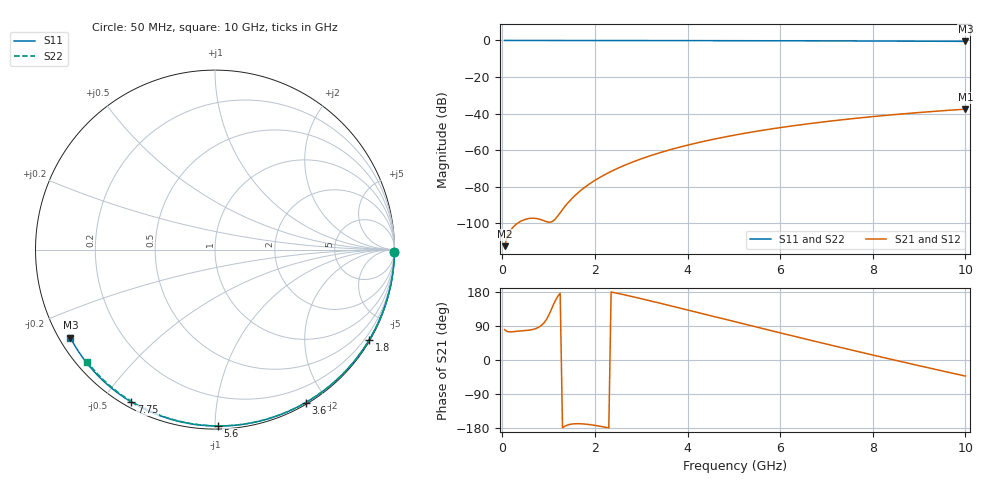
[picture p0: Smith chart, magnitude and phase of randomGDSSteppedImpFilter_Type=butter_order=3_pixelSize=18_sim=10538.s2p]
! freq	dB(S11)	phase(S11)	dB(S12)	phase(S12)
!  dB(S21)	phase(S21)	dB(S22)	phase(S22)
!S-par simulation data
#  GHz  S  DB  R 50
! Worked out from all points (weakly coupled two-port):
!   200 points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, 50 MHz to 10 GHz, reference 50 ohm
!   highest |S21| = -37.59 dB at 10 GHz (marker M1); lowest = -112.6 dB at 50 MHz (marker M2)
!   lowest |S11| = -0.5 dB at 10 GHz (marker M3), VSWR 34.43, Z = 1.57 - j14 ohm
!   |S11| at or under -10 dB: nowhere
!   |S22| runs from -0.5 to 0.0 dB; largest |S21 - S12| = 0
!   S11 on the Smith chart (normalised r, x): 50 MHz: open; 1.8 GHz: 0.03, -3.67; 3.6 GHz: 0.02, -1.75; 5.6 GHz: 0.02, -1.01; 7.75 GHz: 0.02, -0.59; 10 GHz: 0.03, -0.28
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0.05  -0.00 -0.9  -112.58 80.1  -112.58 80.1  -0.00 -0.8
0.45  -0.01 -7.7  -98.34 77.0  -98.34 77.0  -0.01 -7.2
0.9  -0.02 -15.4  -98.68 98.0  -98.68 98.0  -0.02 -14.4
1.3  -0.03 -22.1  -92.56 -178.5  -92.56 -178.5  -0.03 -20.7
1.75  -0.04 -29.6  -80.96 -168.7  -80.96 -168.7  -0.04 -27.7
1.8  -0.04 -30.5  -80.00 -169.3  -80.00 -169.3  -0.04 -28.5
1.95  -0.04 -33.0  -77.37 -171.6  -77.37 -171.6  -0.04 -30.8
2.1  -0.04 -35.4  -75.05 -174.5  -75.05 -174.5  -0.04 -33.1
2.3  -0.05 -38.7  -72.30 -179.2  -72.30 -179.2  -0.05 -36.2
2.5  -0.05 -41.9  -69.87 175.7  -69.87 175.7  -0.05 -39.2
2.9  -0.06 -48.4  -65.71 164.6  -65.71 164.6  -0.06 -45.2
3.4  -0.07 -56.3  -61.45 150.1  -61.45 150.1  -0.07 -52.7
3.6  -0.08 -59.4  -59.97 144.1  -59.97 144.1  -0.07 -55.6
4.3  -0.10 -70.1  -55.50 123.0  -55.50 123.0  -0.09 -65.7
5.05  -0.12 -81.2  -51.64 100.2  -51.64 100.2  -0.12 -76.1
5.6  -0.15 -89.2  -49.25 83.6  -49.25 83.6  -0.14 -83.6
6.15  -0.17 -96.9  -47.16 67.2  -47.16 67.2  -0.16 -90.9
6.7  -0.20 -104.5  -45.30 50.8  -45.30 50.8  -0.19 -98.1
7.75  -0.27 -118.7  -42.29 20.2  -42.29 20.2  -0.26 -111.3
8.35  -0.32 -126.7  -40.84 3.1  -40.84 3.1  -0.30 -118.7
9.2  -0.41 -137.9  -39.04 -20.6  -39.04 -20.6  -0.38 -129.1
10  -0.50 -148.7  -37.59 -42.4  -37.59 -42.4  -0.47 -138.8
